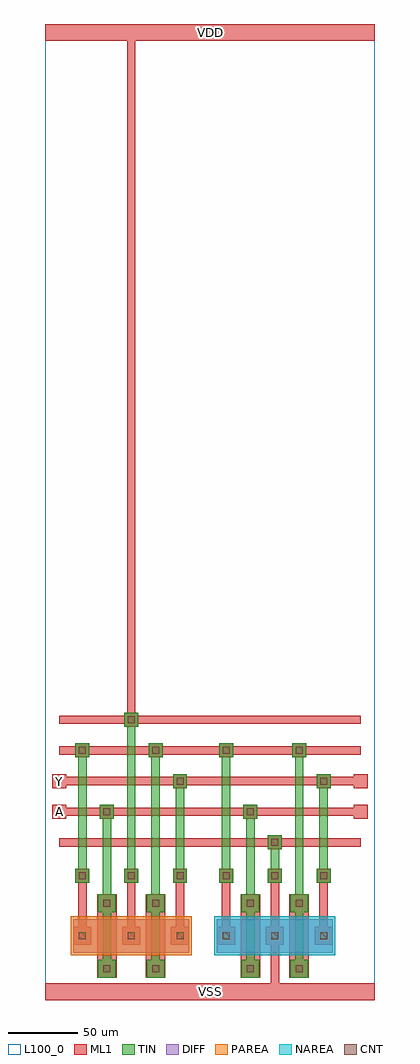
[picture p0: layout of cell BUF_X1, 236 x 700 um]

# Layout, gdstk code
import gdstk
lib = gdstk.Library(unit=1e-6, precision=1e-09)
def R(c, l, rs):  # rectangles x0, y0, x1, y1
    for r in rs: c.add(gdstk.rectangle(r[:2], r[2:], *l))
def A(c, l, x, y, w, h, nx, ny, dx, dy):  # array of equal rectangles
    R(c, l, [(x+i*dx, y+j*dy, x+i*dx+w, y+j*dy+h) for i in range(nx) for j in range(ny)])
DIFF = (3, 0)
TIN = (5, 0)
CNT = (7, 0)
ML1 = (8, 0)
PAREA = (18, 0)
NAREA = (19, 0)
L100_0 = (100, 0)

buf_x1 = lib.new_cell('BUF_X1')
R(buf_x1, DIFF, [(20,34,103,58), (123,34,206,58)])
A(buf_x1, TIN, 21.5, 84, 10, 10, 3, 1, 35, 0)
A(buf_x1, TIN, 124.5, 84, 10, 10, 3, 1, 35, 0)
R(buf_x1, TIN, [(37.5,16,50.5,29), (72.5,16,85.5,29), (140.5,16,153.5,29), (175.5,16,188.5,29), (41,28,47,65.5), (76,28,82,65.5), (144,28,150,65.5), (179,28,185,65.5), (37.5,63,50.5,76), (72.5,63,85.5,76), (140.5,63,153.5,76), (175.5,63,188.5,76), (41,69.5,47,135), (76,69.5,82,179), (144,69.5,150,135), (179,69.5,185,179), (23.5,89,29.5,179), (58.5,89,64.5,201), (93.5,89,99.5,157), (126.5,89,132.5,179), (161.5,89,167.5,113), (196.5,89,202.5,157), (159.5,108,169.5,118), (39,130,49,140), (142,130,152,140), (91.5,152,101.5,162), (194.5,152,204.5,162), (21.5,174,31.5,184), (74,174,84,184), (124.5,174,134.5,184), (177,174,187,184), (56.5,196,66.5,206)])
A(buf_x1, CNT, 24, 43.5, 5, 5, 3, 2, 35, 43)
A(buf_x1, CNT, 127, 43.5, 5, 5, 3, 2, 35, 43)
R(buf_x1, CNT, [(41.5,20,46.5,25), (76.5,20,81.5,25), (144.5,20,149.5,25), (179.5,20,184.5,25), (41.5,67,46.5,72), (76.5,67,81.5,72), (144.5,67,149.5,72), (179.5,67,184.5,72), (162,110.5,167,115.5), (41.5,132.5,46.5,137.5), (144.5,132.5,149.5,137.5), (94,154.5,99,159.5), (197,154.5,202,159.5), (24,176.5,29,181.5), (76.5,176.5,81.5,181.5), (127,176.5,132,181.5), (179.5,176.5,184.5,181.5), (59,198.5,64,203.5)])
A(buf_x1, ML1, 20, 39.5, 13, 13, 3, 1, 35, 0)
A(buf_x1, ML1, 123, 39.5, 13, 13, 3, 1, 35, 0)
A(buf_x1, ML1, 23.5, 46, 6, 43, 3, 1, 35, 0)
A(buf_x1, ML1, 126.5, 46, 6, 43, 3, 1, 35, 0)
A(buf_x1, ML1, 21.5, 84, 10, 10, 3, 1, 35, 0)
A(buf_x1, ML1, 124.5, 84, 10, 10, 3, 1, 35, 0)
A(buf_x1, ML1, 10, 110, 216, 6, 1, 5, 0, 22)
R(buf_x1, ML1, [(0,0,236,12), (161.5,3,167.5,92), (37,16,51,76), (37.5,16,50.5,29), (72,16,86,76), (72.5,16,85.5,29), (140,16,154,76), (140.5,16,153.5,29), (175,16,189,76), (175.5,16,188.5,29), (37.5,63,50.5,76), (72.5,63,85.5,76), (140.5,63,153.5,76), (175.5,63,188.5,76), (159.5,108,169.5,118), (5,130,15,140), (39,130,49,140), (142,130,152,140), (221,130,231,140), (5,152,15,162), (91.5,152,101.5,162), (194.5,152,204.5,162), (221,152,231,162), (21.5,174,31.5,184), (74,174,84,184), (124.5,174,134.5,184), (177,174,187,184), (56.5,196,66.5,206), (58.5,198,64.5,697), (0,688,236,700)])
R(buf_x1, PAREA, [(18,32,105,60)])
R(buf_x1, NAREA, [(121,32,208,60)])
R(buf_x1, L100_0, [(0,0,236,700)])
buf_x1.add(gdstk.Label('A', (10,135), layer=13, texttype=0))
buf_x1.add(gdstk.Label('Y', (10,157), layer=13, texttype=0))
buf_x1.add(gdstk.Label('VDD', (118,694), layer=13, texttype=0))
buf_x1.add(gdstk.Label('VSS', (118,6), layer=13, texttype=0))

lib.write_gds('BUF_X1.gds')
